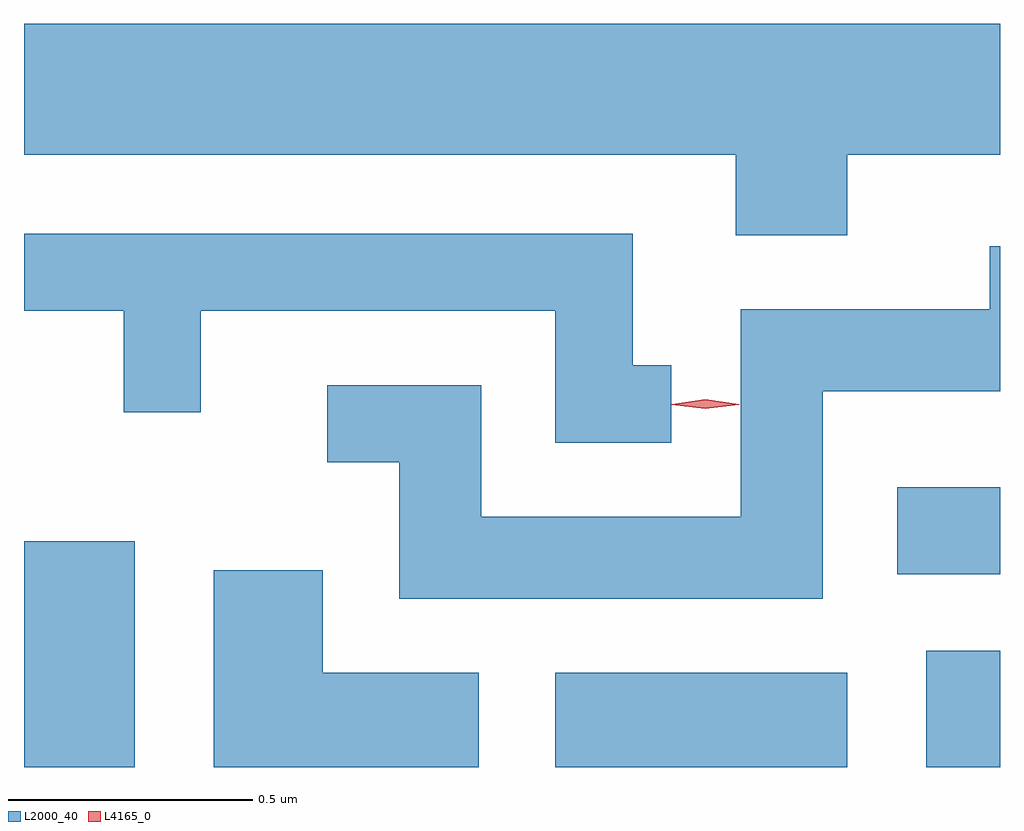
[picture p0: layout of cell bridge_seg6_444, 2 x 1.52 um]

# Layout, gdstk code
import gdstk
lib = gdstk.Library(unit=1e-6, precision=1e-09)
def R(c, l, rs):  # rectangles x0, y0, x1, y1
    for r in rs: c.add(gdstk.rectangle(r[:2], r[2:], *l))
def P(c, l, *ps):  # polygons
    for p in ps: c.add(gdstk.Polygon(p, *l))
L2000_40 = (2000, 40)
L4165_0 = (4165, 0)

bridge_seg6_444 = lib.new_cell('bridge_seg6_444')
R(bridge_seg6_444, L2000_40, [(921.662,1610.941,921.889,1611.404), (922.751,1610.941,923.349,1611.134), (923.511,1610.941,923.662,1611.179), (923.451,1611.336,923.662,1611.514)])
P(bridge_seg6_444, L2000_40, [(923.349,1612.196),(923.662,1612.196),(923.662,1612.464),(921.662,1612.464),(921.662,1612.196),(923.121,1612.196),(923.121,1612.031),(923.349,1612.031)],
  [(922.988,1611.764),(922.909,1611.764),(922.909,1612.034),(921.662,1612.034),(921.662,1611.876),(921.866,1611.876),(921.866,1611.668),(922.024,1611.668),(922.024,1611.876),(922.751,1611.876),(922.751,1611.606),(922.988,1611.606)],
  [(923.299,1611.711),(923.662,1611.711),(923.662,1612.008),(923.641,1612.008),(923.641,1611.879),(923.131,1611.879),(923.131,1611.454),(922.599,1611.454),(922.599,1611.724),(922.283,1611.724),(922.283,1611.566),(922.431,1611.566),(922.431,1611.286),(923.299,1611.286)],
  [(922.594,1611.134),(922.274,1611.134),(922.274,1611.344),(922.051,1611.344),(922.051,1610.941),(922.594,1610.941)])
P(bridge_seg6_444, L4165_0, [(923.058,1611.675),(922.989,1611.684),(922.989,1611.685),(922.989,1611.685),(923.058,1611.695),(923.128,1611.685),(923.128,1611.684),(923.128,1611.684)])

lib.write_gds('bridge_seg6_444.gds')
